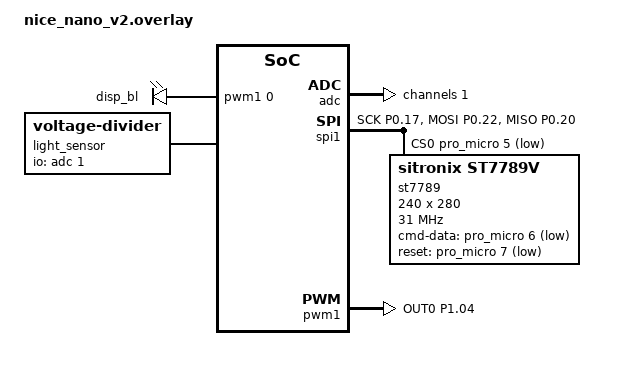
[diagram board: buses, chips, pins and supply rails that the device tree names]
/ {
   pwmleds {
      compatible = "pwm-leds";
      disp_bl: pwm_led_1 {
          pwms = <&pwm1 0 PWM_MSEC(1) PWM_POLARITY_NORMAL>;
      };
  };

  light_sensor {
      compatible = "voltage-divider";
      io-channels = <&adc 1>;
      output-ohms = <0>;
      full-ohms = <0>;
  };
};

&adc {
    #address-cells = <1>;
    #size-cells = <0>;

    channel@1 {
        reg = <1>;
        zephyr,gain = "ADC_GAIN_1_6";
        zephyr,reference = "ADC_REF_INTERNAL";
        zephyr,acquisition-time = <ADC_ACQ_TIME_DEFAULT>;
        zephyr,input-positive = <NRF_SAADC_AIN0>;
        zephyr,resolution = <12>;
    };
};

&pinctrl {
    spi1_default: spi1_default {
        group1 {
            psels = <NRF_PSEL(SPIM_SCK, 0, 17)>,
                <NRF_PSEL(SPIM_MOSI, 0, 22)>,
                <NRF_PSEL(SPIM_MISO, 0, 20)>;
        };
    };

    spi1_sleep: spi1_sleep {
        group1 {
            psels = <NRF_PSEL(SPIM_SCK, 0, 17)>,
                <NRF_PSEL(SPIM_MOSI, 0, 22)>,
                <NRF_PSEL(SPIM_MISO, 0, 20)>;
            low-power-enable;
        };
    };

   pwm1_default: pwm1_default {
      group1 {
         psels = <NRF_PSEL(PWM_OUT0, 1, 04)>;
         nordic,invert;
      };
   };

   pwm1_sleep: pwm1_sleep {
      group1 {
         psels = <NRF_PSEL(PWM_OUT0, 1, 04)>;
         low-power-enable;
      };
   };
};

disp_spi: &spi1 {
   status = "okay";
   pinctrl-0 = <&spi1_default>;
   pinctrl-1 = <&spi1_sleep>;
   pinctrl-names = "default", "sleep";
   cs-gpios = <&pro_micro 5 GPIO_ACTIVE_LOW>;

   st7789: st7789v@0 {
       compatible = "sitronix,st7789v";
       spi-max-frequency = <31000000>;
       reg = <0>;
       cmd-data-gpios = <&pro_micro 6 GPIO_ACTIVE_LOW>;
       reset-gpios = <&pro_micro 7 GPIO_ACTIVE_LOW>;
       width = <240>;
       height = <280>;
       x-offset = <0>;
       y-offset = <20>;
       vcom = <0x19>;
       gctrl = <0x35>;
       vrhs = <0x12>;
       vdvs = <0x20>;
       mdac = <0x00>;
       gamma = <0x01>;
       colmod = <0x05>;
       lcm = <0x2c>;
       porch-param = [ 0c 0c 00 33 33  ];
       cmd2en-param = [ 5a 69 02 01  ];
       pwctrl1-param = [ a4 a1  ];
       pvgam-param = [ D0 04 0D 11 13 2B 3F 54 4C 18 0D 0B 1F 23  ];
       nvgam-param = [ D0 04 0C 11 13 2C 3F 44 51 2F 1F 1F 20 23  ];
       ram-param = [ 00 F0  ];
       rgb-param = [ CD 08 14  ];
   };
};

&pwm1 {
  status = "okay";
  pinctrl-0 = <&pwm1_default>;
  pinctrl-1 = <&pwm1_sleep>;
  pinctrl-names = "default", "sleep";
};
